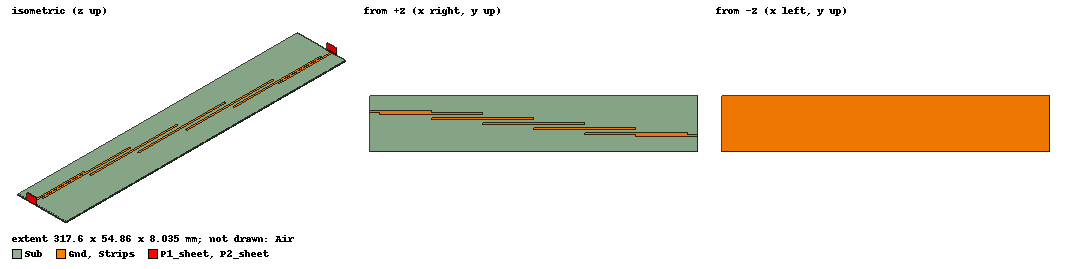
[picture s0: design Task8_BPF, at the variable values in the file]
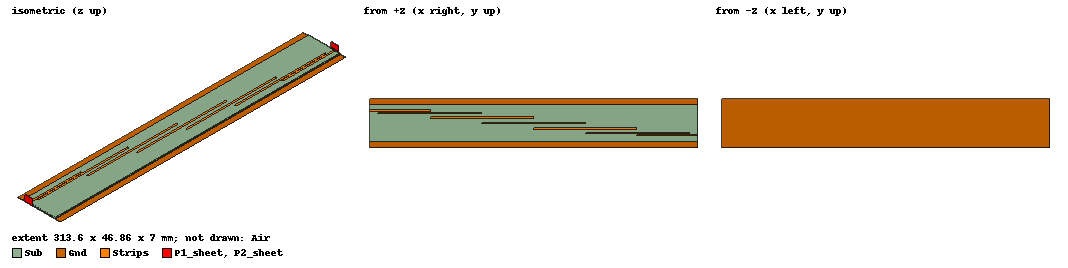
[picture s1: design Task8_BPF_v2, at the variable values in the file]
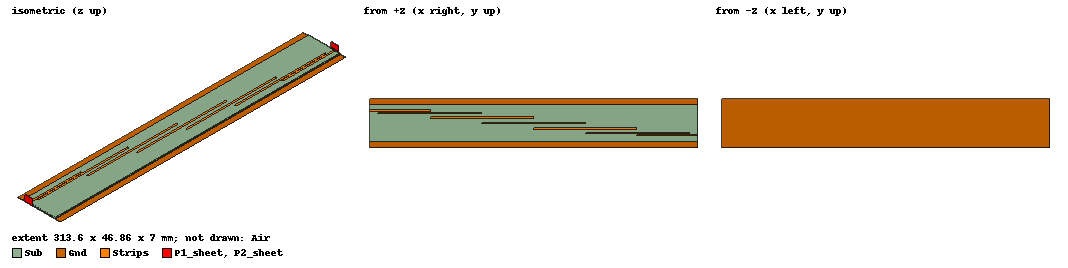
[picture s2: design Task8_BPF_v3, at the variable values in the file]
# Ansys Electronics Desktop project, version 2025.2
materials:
  vacuum: permittivity=1
  copper: permeability=0.999991 conductivity=58000000
  RO4003C_T8: permittivity=3.55 dielectric_loss_tangent=0.0027
  RO4003C_T80: permittivity=3.55 dielectric_loss_tangent=0.0027

design Task8_BPF (HFSS, HFSS Hybrid Modal Network, model units mm)
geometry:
  Sub [RO4003C_T8] = box(corner=(-10mm, -39.0345mm, 0mm), size=(317.64mm, 54.864mm, 0.813mm))
  Gnd [copper] = box(corner=(-10mm, -39.0345mm, -0.035mm), size=(317.64mm, 54.864mm, 0.035mm))
  Strips [copper] = box(corner=(0mm, -0.8295mm, 0.813mm), size=(50.03mm, 1.659mm, 0.035mm))
  T2 = box(corner=(0mm, -2.929mm, 0.813mm), size=(50.03mm, 1.659mm, 0.035mm))
  T3 = box(corner=(50.03mm, -2.987mm, 0.813mm), size=(49.4mm, 1.775mm, 0.035mm))
  T4 = box(corner=(50.03mm, -7.421mm, 0.813mm), size=(49.4mm, 1.775mm, 0.035mm))
  T5 = box(corner=(99.43mm, -7.422mm, 0.813mm), size=(49.39mm, 1.777mm, 0.035mm))
  T6 = box(corner=(99.43mm, -12.491mm, 0.813mm), size=(49.39mm, 1.777mm, 0.035mm))
  T7 = box(corner=(148.82mm, -12.491mm, 0.813mm), size=(49.39mm, 1.777mm, 0.035mm))
  T8 = box(corner=(148.82mm, -17.56mm, 0.813mm), size=(49.39mm, 1.777mm, 0.035mm))
  T9 = box(corner=(198.21mm, -17.559mm, 0.813mm), size=(49.4mm, 1.775mm, 0.035mm))
  T10 = box(corner=(198.21mm, -21.993mm, 0.813mm), size=(49.4mm, 1.775mm, 0.035mm))
  T11 = box(corner=(247.61mm, -21.935mm, 0.813mm), size=(50.03mm, 1.659mm, 0.035mm))
  T12 = box(corner=(247.61mm, -24.0345mm, 0.813mm), size=(50.03mm, 1.659mm, 0.035mm))
  FeedIn = box(corner=(-10mm, -0.8295mm, 0.813mm), size=(10mm, 1.659mm, 0.035mm))
  FeedOut = box(corner=(297.64mm, -24.0345mm, 0.813mm), size=(10mm, 1.659mm, 0.035mm))
  Strips.unite(T2..T12, FeedIn, FeedOut)
  Air [vacuum] = box(corner=(-10mm, -59.0345mm, 0mm), size=(317.64mm, 94.864mm, 35.848mm))
  Sub_1 = Sub.copy()
  Strips_1 = Strips.copy()
  Air.subtract(Sub_1, Strips_1)
  P1_sheet = rectangle(corner=(-10mm, -6mm, 0mm), y_size=12mm, z_size=8mm)
  P2_sheet = rectangle(corner=(307.64mm, -29.205mm, 0mm), y_size=12mm, z_size=8mm)
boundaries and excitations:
  Rad1: Radiation Faces=Air.face(+z, -y, +y)
  P1: Wave Port Objects=P1_sheet WavePortType=Modal NumModes=1 Modes{Mode1{CharImp=Zpi RenormImp=50ohm}}
  P2: Wave Port Objects=P2_sheet WavePortType=Modal NumModes=1 Modes{Mode1{CharImp=Zpi RenormImp=50ohm}}
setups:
  Setup1: HfssDriven Frequency=0.9GHz MaxDeltaS=0.02 MaximumPasses=5 MinimumPasses=2 MinimumConvergedPasses=1 PercentRefinement=30 BasisOrder=1 PortAccuracy=2 DrivenSolverType="Direct Solver"
    sweep Sweep: 0.8GHz to 1GHz, 201 points; Type=Interpolating InterpTolerance=0.5 InterpMaxSolns=250 InterpUsePortImped=false PassivityErrorTolerance=0.0001
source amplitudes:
  P1:1: 1W 0deg
  P2:1: 0W 0deg
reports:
  S Parameter Plot1: dB(S(P1,P1)), dB(S(P2,P1)) vs Freq on Setup1 : Sweep

design Task8_BPF_v2 (HFSS, HFSS Hybrid Modal Network, model units mm)
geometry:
  Sub [RO4003C_T8] = box(corner=(-8mm, -29.0345mm, 0mm), size=(313.64mm, 34.864mm, 0.813mm))
  Strips = rectangle(corner=(0mm, -0.8295mm, 0.813mm), x_size=50.03mm, y_size=1.659mm)
  T2 = rectangle(corner=(0mm, -2.929mm, 0.813mm), x_size=50.03mm, y_size=1.659mm)
  T3 = rectangle(corner=(50.03mm, -2.987mm, 0.813mm), x_size=49.4mm, y_size=1.775mm)
  T4 = rectangle(corner=(50.03mm, -7.421mm, 0.813mm), x_size=49.4mm, y_size=1.775mm)
  T5 = rectangle(corner=(99.43mm, -7.422mm, 0.813mm), x_size=49.39mm, y_size=1.777mm)
  T6 = rectangle(corner=(99.43mm, -12.491mm, 0.813mm), x_size=49.39mm, y_size=1.777mm)
  T7 = rectangle(corner=(148.82mm, -12.491mm, 0.813mm), x_size=49.39mm, y_size=1.777mm)
  T8 = rectangle(corner=(148.82mm, -17.56mm, 0.813mm), x_size=49.39mm, y_size=1.777mm)
  T9 = rectangle(corner=(198.21mm, -17.559mm, 0.813mm), x_size=49.4mm, y_size=1.775mm)
  T10 = rectangle(corner=(198.21mm, -21.993mm, 0.813mm), x_size=49.4mm, y_size=1.775mm)
  T11 = rectangle(corner=(247.61mm, -21.935mm, 0.813mm), x_size=50.03mm, y_size=1.659mm)
  T12 = rectangle(corner=(247.61mm, -24.0345mm, 0.813mm), x_size=50.03mm, y_size=1.659mm)
  FeedIn = rectangle(corner=(-8mm, -0.8295mm, 0.813mm), x_size=8mm, y_size=1.659mm)
  FeedOut = rectangle(corner=(297.64mm, -24.0345mm, 0.813mm), x_size=8mm, y_size=1.659mm)
  Strips.unite(T2..T12, FeedIn, FeedOut)
  Gnd = rectangle(corner=(-8mm, -35.0345mm, 0mm), x_size=313.64mm, y_size=46.864mm)
  Air [vacuum] = box(corner=(-8mm, -35.0345mm, 0mm), size=(313.64mm, 46.864mm, 12.813mm))
  Sub_1 = Sub.copy()
  Air.subtract(Sub_1)
  P1_sheet = rectangle(corner=(-8mm, -4.5mm, 0mm), y_size=9mm, z_size=7mm)
  P2_sheet = rectangle(corner=(305.64mm, -27.705mm, 0mm), y_size=9mm, z_size=7mm)
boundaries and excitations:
  Cu: Finite Conductivity Objects=[Strips, Gnd] UseMaterial Material=copper Thickness=35um IsInternal
  Rad1: Radiation Faces=Air.face(+z, -y, +y)
  P1: Wave Port Objects=P1_sheet WavePortType=Modal NumModes=1 Modes{Mode1{CharImp=Zpi RenormImp=50ohm}}
  P2: Wave Port Objects=P2_sheet WavePortType=Modal NumModes=1 Modes{Mode1{CharImp=Zpi RenormImp=50ohm}}
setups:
  Setup1: HfssDriven Frequency=0.9GHz MaxDeltaS=0.02 MaximumPasses=40 MinimumPasses=3 MinimumConvergedPasses=1 PercentRefinement=30 BasisOrder=1 PortAccuracy=2 DrivenSolverType="Direct Solver"
    sweep Sweep: 0.8GHz to 1GHz, 201 points; Type=Interpolating InterpTolerance=0.5 InterpMaxSolns=250 InterpUsePortImped=false PassivityErrorTolerance=0.0001
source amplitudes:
  P1:1: 1W 0deg
  P2:1: 0W 0deg

design Task8_BPF_v3 (HFSS, HFSS Hybrid Modal Network, model units mm)
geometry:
  Sub [RO4003C_T8] = box(corner=(-8mm, -29.0345mm, 0mm), size=(313.64mm, 34.864mm, 0.813mm))
  Strips = rectangle(corner=(0mm, -0.8295mm, 0.813mm), x_size=50.03mm, y_size=1.659mm)
  T2 = rectangle(corner=(0mm, -2.929mm, 0.813mm), x_size=50.03mm, y_size=1.659mm)
  T3 = rectangle(corner=(50.03mm, -2.987mm, 0.813mm), x_size=49.4mm, y_size=1.775mm)
  T4 = rectangle(corner=(50.03mm, -7.421mm, 0.813mm), x_size=49.4mm, y_size=1.775mm)
  T5 = rectangle(corner=(99.43mm, -7.422mm, 0.813mm), x_size=49.39mm, y_size=1.777mm)
  T6 = rectangle(corner=(99.43mm, -12.491mm, 0.813mm), x_size=49.39mm, y_size=1.777mm)
  T7 = rectangle(corner=(148.82mm, -12.491mm, 0.813mm), x_size=49.39mm, y_size=1.777mm)
  T8 = rectangle(corner=(148.82mm, -17.56mm, 0.813mm), x_size=49.39mm, y_size=1.777mm)
  T9 = rectangle(corner=(198.21mm, -17.559mm, 0.813mm), x_size=49.4mm, y_size=1.775mm)
  T10 = rectangle(corner=(198.21mm, -21.993mm, 0.813mm), x_size=49.4mm, y_size=1.775mm)
  T11 = rectangle(corner=(247.61mm, -21.935mm, 0.813mm), x_size=50.03mm, y_size=1.659mm)
  T12 = rectangle(corner=(247.61mm, -24.0345mm, 0.813mm), x_size=50.03mm, y_size=1.659mm)
  FeedIn = rectangle(corner=(-8mm, -0.8295mm, 0.813mm), x_size=8mm, y_size=1.659mm)
  FeedOut = rectangle(corner=(297.64mm, -24.0345mm, 0.813mm), x_size=8mm, y_size=1.659mm)
  Strips.unite(T2..T12, FeedIn, FeedOut)
  Gnd = rectangle(corner=(-8mm, -35.0345mm, 0mm), x_size=313.64mm, y_size=46.864mm)
  Air [vacuum] = box(corner=(-8mm, -35.0345mm, 0mm), size=(313.64mm, 46.864mm, 12.813mm))
  Sub_1 = Sub.copy()
  Air.subtract(Sub_1)
  P1_sheet = rectangle(corner=(-8mm, -4.5mm, 0mm), y_size=9mm, z_size=7mm)
  P2_sheet = rectangle(corner=(305.64mm, -27.705mm, 0mm), y_size=9mm, z_size=7mm)
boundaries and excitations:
  Cu: Finite Conductivity Objects=[Strips, Gnd] UseMaterial Material=copper Thickness=35um IsInternal
  Rad1: Radiation Faces=Air.face(+z, -y, +y)
  P1: Wave Port Objects=P1_sheet WavePortType=Modal NumModes=1 Modes{Mode1{CharImp=Zpi RenormImp=50ohm}}
  P2: Wave Port Objects=P2_sheet WavePortType=Modal NumModes=1 Modes{Mode1{CharImp=Zpi RenormImp=50ohm}}
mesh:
  StripSeed: LengthBased Objects=Strips MaxLength=3mm
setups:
  Setup1: HfssDriven Frequency=0.9GHz MaxDeltaS=0.02 MaximumPasses=5 MinimumPasses=2 MinimumConvergedPasses=1 PercentRefinement=20 BasisOrder=2 PortAccuracy=2 DrivenSolverType="Direct Solver"
    sweep Sweep: 0.8GHz to 1GHz, 201 points; Type=Interpolating InterpTolerance=0.5 InterpMaxSolns=250 InterpUsePortImped=false PassivityErrorTolerance=0.0001
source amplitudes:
  P1:1: 1W 0deg
  P2:1: 0W 0deg
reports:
  S Parameter Plot1: dB(S(P1,P1)), dB(S(P2,P1)) vs Freq on Setup1 : Sweep
